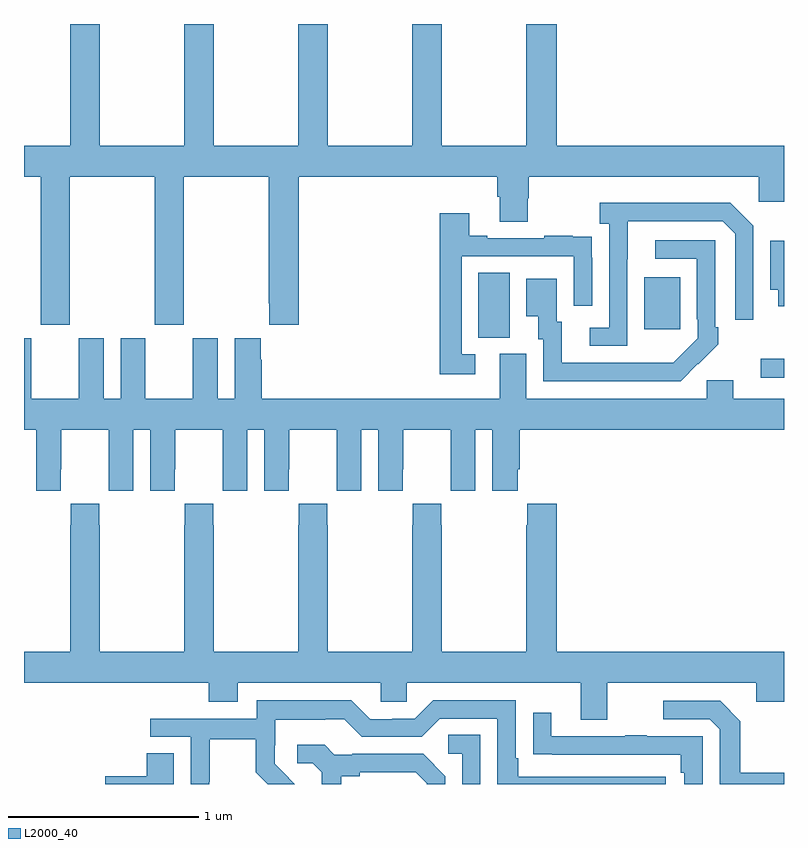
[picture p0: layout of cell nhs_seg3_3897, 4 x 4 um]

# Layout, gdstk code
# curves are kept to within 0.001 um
import gdstk
lib = gdstk.Library(unit=1e-6, precision=1e-09)
def R(c, l, rs):  # rectangles x0, y0, x1, y1
    for r in rs: c.add(gdstk.rectangle(r[:2], r[2:], *l))
def P(c, l, *ps):  # polygons
    for p in ps: c.add(gdstk.Polygon(p, *l))
L2000_40 = (2000, 40)

nhs_seg3_3897 = lib.new_cell('nhs_seg3_3897')
R(nhs_seg3_3897, L2000_40, [(316.878,686.538,317,686.639), (315.392,686.749,315.556,687.092), (316.265,686.793,316.453,687.067)])
P(nhs_seg3_3897, L2000_40, [(313.242,687.596),(313.687,687.596),(313.687,686.817),(313.842,686.817),(313.842,687.596),(314.287,687.596),(314.287,686.929),(314.291,686.929),(314.291,686.817),(314.447,686.817),(314.447,687.596),(315.491,687.596),(315.491,687.49),(315.503,687.49),(315.503,687.358),(315.651,687.358),(315.651,687.483),(315.656,687.483),(315.656,687.596),(316.866,687.596),(316.866,687.465),(317,687.465),(317,687.76),(315.803,687.76),(315.803,688.4),(315.643,688.4),(315.643,687.76),(315.198,687.76),(315.198,688.4),(315.043,688.4),(315.043,687.76),(314.598,687.76),(314.598,688.4),(314.443,688.4),(314.443,687.76),(313.998,687.76),(313.998,688.4),(313.843,688.4),(313.843,687.76),(313.398,687.76),(313.398,688.4),(313.243,688.4),(313.243,687.76),(313,687.76),(313,687.596),(313.087,687.596),(313.087,686.817),(313.242,686.817)],
  [(316.176,687.163),(316.177,687.363),(316.677,687.363),(316.743,687.297),(316.743,686.844),(316.839,686.844),(316.839,687.339),(316.718,687.46),(316.029,687.46),(316.029,687.35),(316.08,687.35),(316.08,686.802),(315.978,686.802),(315.978,686.706),(316.176,686.706)],
  [(315.376,686.661),(315.303,686.661),(315.303,687.177),(315.894,687.177),(315.894,686.916),(315.99,686.916),(315.99,687.17),(315.989,687.17),(315.989,687.279),(315.887,687.279),(315.887,687.286),(315.739,687.286),(315.739,687.273),(315.439,687.273),(315.439,687.286),(315.343,687.286),(315.343,687.403),(315.187,687.403),(315.187,686.556),(315.376,686.556)],
  [(316.547,686.611),(316.548,686.61),(316.653,686.715),(316.653,686.803),(316.638,686.803),(316.638,687.261),(316.323,687.261),(316.323,687.165),(316.542,687.165),(316.542,686.845),(316.545,686.845),(316.545,686.745),(316.417,686.617),(315.829,686.616),(315.829,686.832),(315.805,686.832),(315.805,687.058),(315.644,687.058),(315.644,686.861),(315.707,686.861),(315.707,686.742),(315.732,686.742),(315.732,686.52),(316.456,686.52)],
  [(317,687.259),(316.928,687.259),(316.928,687.002),(316.97,687.002),(316.97,686.915),(317,686.915)],
  [(313.194,686.056),(313.195,686.056),(313.195,686.264),(313.445,686.264),(313.445,686.056),(313.446,686.056),(313.446,685.944),(313.576,685.944),(313.576,686.264),(313.664,686.264),(313.664,685.944),(313.794,685.944),(313.794,686.056),(313.795,686.056),(313.795,686.264),(314.045,686.264),(314.045,686.056),(314.046,686.056),(314.046,685.944),(314.176,685.944),(314.176,686.264),(314.264,686.264),(314.264,685.944),(314.394,685.944),(314.394,686.056),(314.395,686.056),(314.395,686.264),(314.645,686.264),(314.645,686.056),(314.646,686.056),(314.646,685.944),(314.776,685.944),(314.776,686.264),(314.864,686.264),(314.864,685.944),(314.994,685.944),(314.994,686.056),(314.995,686.056),(314.995,686.264),(315.245,686.264),(315.245,686.056),(315.246,686.056),(315.246,685.944),(315.376,685.944),(315.376,686.264),(315.464,686.264),(315.464,685.944),(315.598,685.944),(315.598,686.056),(315.608,686.056),(315.608,686.264),(317,686.264),(317,686.428),(316.732,686.428),(316.732,686.526),(316.593,686.526),(316.593,686.428),(315.643,686.428),(315.643,686.664),(315.503,686.664),(315.503,686.428),(314.252,686.428),(314.252,686.633),(314.245,686.633),(314.245,686.746),(314.108,686.746),(314.108,686.428),(314.02,686.428),(314.02,686.746),(313.889,686.746),(313.889,686.428),(313.639,686.428),(313.639,686.746),(313.508,686.746),(313.508,686.428),(313.42,686.428),(313.42,686.746),(313.289,686.746),(313.289,686.428),(313.039,686.428),(313.039,686.746),(313,686.746),(313,686.264),(313.064,686.264),(313.064,685.944),(313.194,685.944)],
  [(316.069,684.932),(316.853,684.932),(316.853,684.833),(317,684.833),(317,685.096),(315.803,685.096),(315.803,685.876),(315.649,685.876),(315.649,685.763),(315.643,685.763),(315.643,685.096),(315.198,685.096),(315.198,685.763),(315.195,685.763),(315.195,685.876),(315.045,685.876),(315.045,685.763),(315.043,685.763),(315.043,685.096),(314.598,685.096),(314.598,685.763),(314.595,685.763),(314.595,685.876),(314.445,685.876),(314.445,685.763),(314.443,685.763),(314.443,685.096),(313.998,685.096),(313.998,685.763),(313.995,685.763),(313.995,685.876),(313.845,685.876),(313.845,685.763),(313.843,685.763),(313.843,685.096),(313.398,685.096),(313.398,685.763),(313.395,685.763),(313.395,685.876),(313.245,685.876),(313.245,685.763),(313.243,685.763),(313.243,685.096),(313,685.096),(313,684.932),(313.973,684.932),(313.973,684.833),(314.125,684.833),(314.125,684.932),(314.877,684.932),(314.877,684.834),(315.015,684.834),(315.015,684.932),(315.929,684.932),(315.929,684.738),(316.069,684.738)],
  [(313.974,684.412),(313.977,684.412),(313.977,684.636),(314.221,684.636),(314.221,684.461),(314.282,684.4),(314.424,684.4),(314.32,684.506),(314.32,684.603),(314.322,684.603),(314.322,684.737),(314.585,684.737),(314.585,684.741),(314.685,684.741),(314.778,684.648),(315.093,684.648),(315.189,684.744),(315.492,684.744),(315.492,684.4),(316.378,684.4),(316.378,684.438),(315.601,684.438),(315.601,684.535),(315.588,684.535),(315.588,684.84),(315.153,684.84),(315.057,684.744),(314.939,684.744),(314.939,684.741),(314.823,684.741),(314.723,684.841),(314.226,684.841),(314.226,684.744),(313.665,684.744),(313.665,684.648),(313.878,684.648),(313.878,684.4),(313.974,684.4)],
  [(317,684.459),(316.771,684.459),(316.771,684.731),(316.665,684.837),(316.365,684.837),(316.365,684.741),(316.608,684.741),(316.662,684.687),(316.662,684.4),(317,684.4)],
  [(316.572,684.651),(316.277,684.651),(316.277,684.656),(316.165,684.656),(316.165,684.651),(315.775,684.651),(315.775,684.775),(315.679,684.775),(315.679,684.556),(315.781,684.556),(315.781,684.555),(316.456,684.555),(316.456,684.458),(316.476,684.458),(316.476,684.4),(316.572,684.4)],
  [(315.402,684.659),(315.234,684.659),(315.234,684.558),(315.306,684.558),(315.306,684.4),(315.402,684.4)],
  [(314.671,684.44),(314.767,684.44),(314.767,684.462),(315.062,684.462),(315.119,684.405),(315.119,684.4),(315.216,684.4),(315.216,684.442),(315.1,684.558),(314.728,684.558),(314.728,684.555),(314.634,684.555),(314.582,684.607),(314.439,684.607),(314.439,684.51),(314.52,684.51),(314.567,684.463),(314.567,684.4),(314.671,684.4)],
  [(313.789,684.563),(313.646,684.563),(313.646,684.44),(313.428,684.44),(313.428,684.4),(313.789,684.4)])

lib.write_gds('nhs_seg3_3897.gds')
